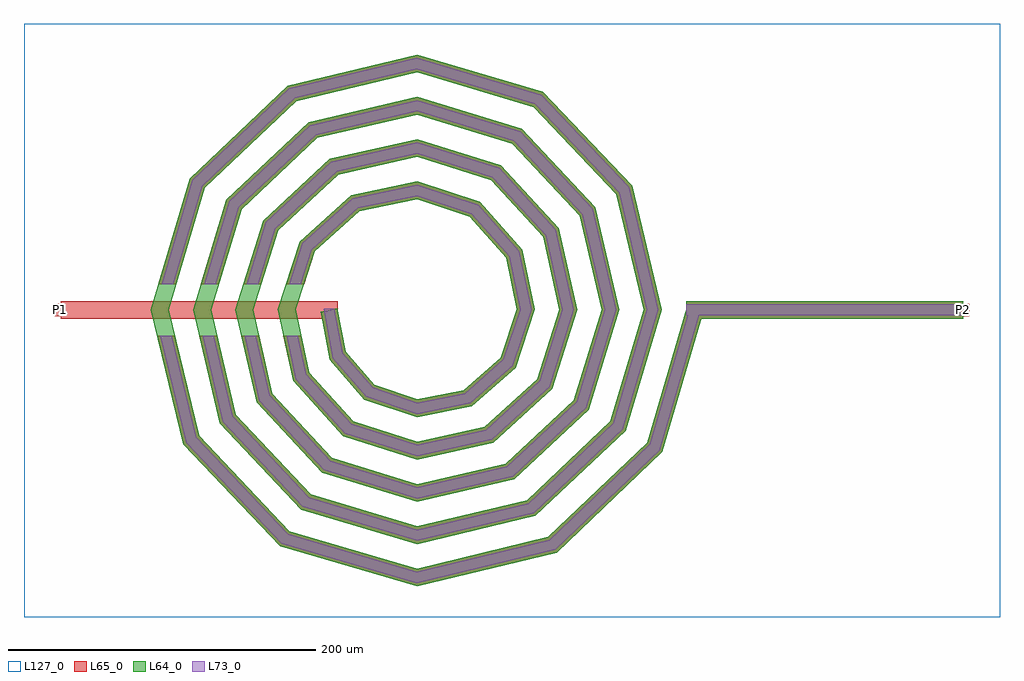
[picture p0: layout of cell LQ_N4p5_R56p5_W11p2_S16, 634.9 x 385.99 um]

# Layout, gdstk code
import gdstk
lib = gdstk.Library(unit=1e-6, precision=1e-09)
def R(c, l, rs):  # rectangles x0, y0, x1, y1
    for r in rs: c.add(gdstk.rectangle(r[:2], r[2:], *l))
def P(c, l, *ps):  # polygons
    for p in ps: c.add(gdstk.Polygon(p, *l))
L64_0 = (64, 0)
L65_0 = (65, 0)
L73_0 = (73, 0)
L127_0 = (127, 0)

lq_n4p5_r56p5_w11p2_s16 = lib.new_cell('LQ_N4p5_R56p5_W11p2_S16')
R(lq_n4p5_r56p5_w11p2_s16, L64_0, [(175.355,-5.6,355.355,5.6)])
P(lq_n4p5_r56p5_w11p2_s16, L64_0, [(-46.26,-27.189),(-27.627,-48.653),(0.387,-58.24),(30.59,-52.236),(54.588,-31.1),(65.116,0.349),(58.208,33.997),(34.566,60.527),(0.319,71.993),(-37.411,64.178),(-66.469,38.028),(-78.87,0.293),(-70.146,-40.828),(-41.487,-72.413),(0.271,-85.747),(44.249,-76.112),(78.359,-44.943),(92.625,0.252),(82.077,47.672),(48.396,84.306),(0.235,99.502),(-51.097,88.041),(-90.255,51.848),(-106.38,0.221),(-94.005,-54.524),(-55.299,-96.205),(0.208,-113.257),(57.952,-99.967),(102.155,-58.748),(120.135,0.197),(105.929,61.381),(62.196,108.106),(0.187,127.013),(-64.812,111.89),(-114.058,65.643),(-133.891,0.178),(-117.851,-68.243),(-69.089,-120.01),(0.169,-140.769),(71.675,-123.811),(125.962,-72.535),(147.646,0.162),(129.771,75.107),(75.98,131.915),(0.155,154.524),(-78.541,135.731),(-137.868,79.425),(-161.402,0.148),(-141.691,-81.974),(-82.869,-143.822),(0.142,-168.28),(85.408,-147.65),(149.776,-86.313),(175.581,1.578),(186.328,-1.578),(159.676,-92.349),(90.961,-157.83),(0.142,-179.872),(-88.915,-153.716),(-151.876,-87.517),(-172.994,0.148),(-147.757,85.481),(-84.072,145.922),(0.155,166.116),(82.048,141.797),(139.969,80.627),(159.238,0.162),(135.836,-78.615),(77.182,-134.016),(0.169,-152.36),(-75.182,-129.876),(-128.063,-73.736),(-145.481,0.178),(-123.915,71.75),(-70.289,122.111),(0.187,138.603),(68.32,117.953),(116.159,66.841),(131.724,0.197),(111.991,-64.889),(63.392,-110.208),(0.208,-124.846),(-61.46,-106.028),(-104.257,-59.943),(-117.968,0.221),(-100.064,58.033),(-56.491,98.307),(0.235,111.089),(54.606,94.1),(92.358,53.038),(104.21,0.252),(88.134,-51.182),(49.583,-86.409),(0.271,-97.331),(-47.76,-82.167),(-80.462,-46.126),(-90.452,0.293),(-76.198,44.34),(-42.665,74.517),(0.319,83.573),(40.924,70.226),(68.574,39.2),(76.694,0.349),(64.252,-37.513),(35.73,-62.633),(0.387,-69.813),(-34.107,-58.273),(-56.696,-32.252),(-62.65,-1.05),(-51.648,1.05)])
R(lq_n4p5_r56p5_w11p2_s16, L65_0, [(-231.549,-5.6,-51.549,5.6), (175.355,-5.6,355.355,5.6), (-235.549,-4,-227.549,4), (351.355,-4,359.355,4)])
P(lq_n4p5_r56p5_w11p2_s16, L65_0, [(-141.691,-81.974),(-82.869,-143.822),(0.143,-168.28),(85.408,-147.65),(149.776,-86.313),(175.581,1.578),(186.328,-1.578),(159.676,-92.349),(90.961,-157.83),(0.143,-179.873),(-88.915,-153.716),(-151.876,-87.517),(-168.912,-16.8),(-157.391,-16.8)],
  [(-117.851,-68.243),(-69.089,-120.01),(0.169,-140.769),(71.675,-123.811),(125.962,-72.535),(147.647,0.162),(129.772,75.108),(75.98,131.915),(0.155,154.525),(-78.541,135.731),(-137.868,79.425),(-156.39,16.8),(-168.069,16.8),(-147.757,85.481),(-84.072,145.923),(0.155,166.116),(82.048,141.797),(139.969,80.627),(159.238,0.162),(135.836,-78.615),(77.182,-134.016),(0.169,-152.36),(-75.182,-129.876),(-128.063,-73.736),(-141.48,-16.8),(-129.974,-16.8)],
  [(-94.005,-54.524),(-55.299,-96.205),(0.208,-113.257),(57.952,-99.967),(102.155,-58.748),(120.135,0.197),(105.929,61.381),(62.196,108.106),(0.187,127.013),(-64.812,111.89),(-114.058,65.643),(-128.775,16.8),(-140.472,16.8),(-123.915,71.751),(-70.289,122.111),(0.187,138.603),(68.32,117.953),(116.159,66.841),(131.725,0.197),(111.991,-64.89),(63.393,-110.208),(0.208,-124.846),(-61.461,-106.028),(-104.257,-59.943),(-114.089,-16.8),(-102.602,-16.8)],
  [(-70.146,-40.828),(-41.487,-72.413),(0.271,-85.747),(44.249,-76.113),(78.359,-44.943),(92.625,0.252),(82.078,47.672),(48.396,84.306),(0.235,99.502),(-51.097,88.042),(-90.255,51.848),(-101.109,16.8),(-112.833,16.8),(-100.064,58.033),(-56.491,98.307),(0.235,111.089),(54.606,94.1),(92.358,53.038),(104.21,0.252),(88.134,-51.182),(49.584,-86.409),(0.271,-97.331),(-47.76,-82.167),(-80.462,-46.126),(-86.774,-16.8),(-75.317,-16.8)],
  [(-27.627,-48.653),(0.387,-58.241),(30.59,-52.236),(54.588,-31.1),(65.117,0.349),(58.208,33.997),(34.566,60.527),(0.319,71.993),(-37.411,64.178),(-66.469,38.028),(-73.339,16.8),(-85.11,16.8),(-76.198,44.34),(-42.665,74.517),(0.319,83.573),(40.924,70.227),(68.574,39.2),(76.694,0.349),(64.252,-37.513),(35.73,-62.633),(0.387,-69.813),(-34.107,-58.273),(-56.696,-32.252),(-62.65,-1.05),(-51.648,1.05),(-46.26,-27.189)])
R(lq_n4p5_r56p5_w11p2_s16, L73_0, [(175.355,-3.6,355.355,3.6)])
P(lq_n4p5_r56p5_w11p2_s16, L73_0, [(-143.51,-82.964),(-83.949,-145.589),(0.092,-170.35),(86.4,-149.468),(151.543,-87.391),(177.5,1.014),(184.409,-1.014),(157.908,-91.271),(89.969,-156.012),(0.092,-177.803),(-87.835,-151.95),(-150.057,-86.527),(-166.854,-16.8),(-159.448,-16.8)],
  [(-119.675,-69.224),(-70.177,-121.771),(0.109,-142.838),(72.658,-125.634),(127.725,-73.621),(149.716,0.104),(131.593,76.093),(77.064,133.68),(0.099,156.594),(-79.528,137.551),(-139.634,80.506),(-158.476,16.8),(-165.984,16.8),(-145.991,84.4),(-83.085,144.103),(0.099,164.046),(80.964,140.032),(138.148,79.642),(157.168,0.104),(134.073,-77.529),(76.199,-132.194),(0.109,-150.29),(-74.094,-128.114),(-126.24,-72.755),(-139.426,-16.8),(-132.028,-16.8)],
  [(-95.835,-55.491),(-56.399,-97.959),(0.134,-115.327),(58.923,-101.796),(103.911,-59.844),(122.205,0.127),(107.756,62.356),(63.289,109.864),(0.12,129.083),(-65.79,113.715),(-115.818,66.733),(-130.864,16.8),(-138.384,16.8),(-122.154,70.66),(-69.311,120.286),(0.12,136.533),(67.226,116.195),(114.332,65.866),(129.655,0.127),(110.234,-63.793),(62.421,-108.379),(0.134,-122.777),(-60.36,-104.274),(-102.426,-58.975),(-112.037,-16.8),(-104.653,-16.8)],
  [(-71.988,-41.774),(-42.607,-74.155),(0.174,-87.816),(45.201,-77.951),(80.104,-46.057),(94.693,0.162),(83.913,48.63),(49.505,86.055),(0.151,101.571),(-52.06,89.875),(-92.007,52.953),(-103.202,16.8),(-110.74,16.8),(-98.313,56.928),(-55.528,96.474),(0.151,109.02),(53.498,92.351),(90.522,52.08),(102.141,0.162),(86.389,-50.068),(48.631,-84.571),(0.174,-95.263),(-46.64,-80.425),(-78.62,-45.18),(-84.728,-16.8),(-77.363,-16.8)],
  [(-28.784,-50.371),(0.249,-60.307),(31.508,-54.093),(56.314,-32.245),(67.184,0.225),(60.059,34.927),(35.702,62.259),(0.205,74.061),(-38.349,66.025),(-68.206,39.155),(-75.441,16.8),(-83.008,16.8),(-74.461,43.213),(-41.727,72.671),(0.205,81.505),(39.789,68.494),(66.723,38.271),(74.626,0.225),(62.526,-36.368),(34.812,-60.777),(0.249,-67.747),(-32.95,-56.556),(-54.832,-31.348),(-60.685,0.675),(-53.613,0.675),(-48.124,-28.093)])
R(lq_n4p5_r56p5_w11p2_s16, L127_0, [(-255.549,-199.873,379.355,186.116)])
lq_n4p5_r56p5_w11p2_s16.add(gdstk.Label('P2', (355.355,0), layer=65, texttype=0))
lq_n4p5_r56p5_w11p2_s16.add(gdstk.Label('P1', (-231.549,0), layer=65, texttype=0))
lq_n4p5_r56p5_w11p2_s16.add(gdstk.Label('P2', (359.355,0), layer=145, texttype=0))
lq_n4p5_r56p5_w11p2_s16.add(gdstk.Label('P1', (-235.549,0), layer=145, texttype=0))

lib.write_gds('LQ_N4p5_R56p5_W11p2_S16.gds')
